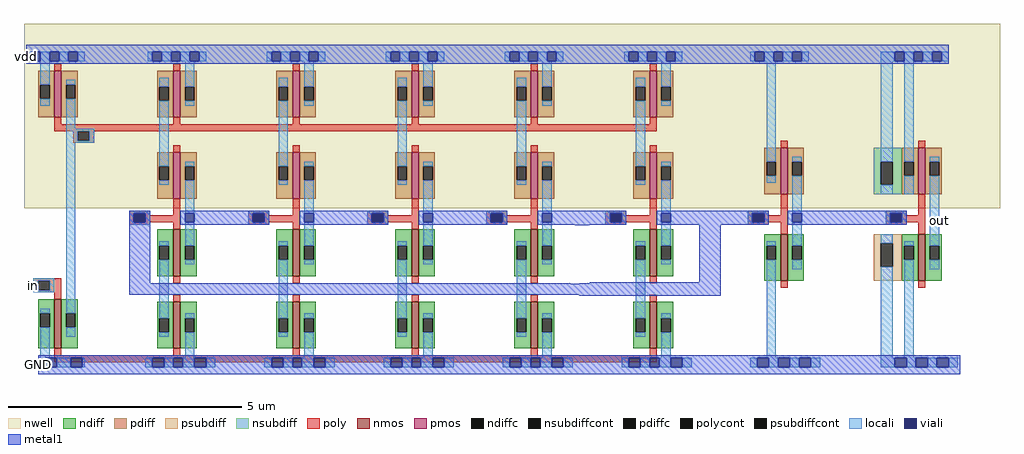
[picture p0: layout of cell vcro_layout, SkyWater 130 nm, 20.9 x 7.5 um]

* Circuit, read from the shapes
.subckt vcro_layout vdd in GND out
XM1 n1 in GND GND sky130_fd_pr__nfet_01v8 w=1.05 l=0.15
XM2 GND in n2 GND sky130_fd_pr__nfet_01v8 w=1 l=0.15
XM3 n3 n4 n2 GND sky130_fd_pr__nfet_01v8 w=1 l=0.15
XM4 GND in n5 GND sky130_fd_pr__nfet_01v8 w=1 l=0.15
XM5 n6 n3 n5 GND sky130_fd_pr__nfet_01v8 w=1 l=0.15
XM6 GND in n7 GND sky130_fd_pr__nfet_01v8 w=1 l=0.15
XM7 n8 n6 n7 GND sky130_fd_pr__nfet_01v8 w=1 l=0.15
XM8 GND in n9 GND sky130_fd_pr__nfet_01v8 w=1 l=0.15
XM9 n10 n8 n9 GND sky130_fd_pr__nfet_01v8 w=1 l=0.15
XM10 GND in n11 GND sky130_fd_pr__nfet_01v8 w=1 l=0.15
XM11 n4 n10 n11 GND sky130_fd_pr__nfet_01v8 w=1 l=0.15
XM12 n12 n4 GND GND sky130_fd_pr__nfet_01v8 w=1 l=0.15
XM13 out n12 GND GND sky130_fd_pr__nfet_01v8 w=1 l=0.15
XM14 n1 n1 vdd vdd sky130_fd_pr__pfet_01v8 w=1 l=0.15
XM15 n3 n4 n13 vdd sky130_fd_pr__pfet_01v8 w=1 l=0.15
XM16 vdd n1 n13 vdd sky130_fd_pr__pfet_01v8 w=1 l=0.15
XM17 n6 n3 n14 vdd sky130_fd_pr__pfet_01v8 w=1 l=0.15
XM18 vdd n1 n14 vdd sky130_fd_pr__pfet_01v8 w=1 l=0.15
XM19 n8 n6 n15 vdd sky130_fd_pr__pfet_01v8 w=1 l=0.15
XM20 vdd n1 n15 vdd sky130_fd_pr__pfet_01v8 w=1 l=0.15
XM21 n10 n8 n16 vdd sky130_fd_pr__pfet_01v8 w=1 l=0.15
XM22 vdd n1 n16 vdd sky130_fd_pr__pfet_01v8 w=1 l=0.15
XM23 n4 n10 n17 vdd sky130_fd_pr__pfet_01v8 w=1 l=0.15
XM24 vdd n1 n17 vdd sky130_fd_pr__pfet_01v8 w=1 l=0.15
XM25 n12 n4 vdd vdd sky130_fd_pr__pfet_01v8 w=1 l=0.15
XM26 out n12 vdd vdd sky130_fd_pr__pfet_01v8 w=1 l=0.15
.ends

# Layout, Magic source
magic
tech sky130A
<< nwell >>
rect -1715 -70 375 325
<< nmos >>
rect -1395 -215 -1380 -115
rect -1140 -215 -1125 -115
rect -885 -215 -870 -115
rect -630 -215 -615 -115
rect -375 -215 -360 -115
rect -95 -225 -80 -125
rect 200 -225 215 -125
rect -1650 -370 -1635 -265
rect -1395 -370 -1380 -270
rect -1140 -370 -1125 -270
rect -885 -370 -870 -270
rect -630 -370 -615 -270
rect -375 -370 -360 -270
<< pmos >>
rect -1650 125 -1635 225
rect -1395 125 -1380 225
rect -1140 125 -1125 225
rect -885 125 -870 225
rect -630 125 -615 225
rect -375 125 -360 225
rect -1395 -50 -1380 50
rect -1140 -50 -1125 50
rect -885 -50 -870 50
rect -630 -50 -615 50
rect -375 -50 -360 50
rect -95 -40 -80 60
rect 200 -40 215 60
<< ndiff >>
rect -1430 -150 -1395 -115
rect -1430 -180 -1425 -150
rect -1405 -180 -1395 -150
rect -1430 -215 -1395 -180
rect -1380 -150 -1345 -115
rect -1380 -180 -1370 -150
rect -1350 -180 -1345 -150
rect -1380 -215 -1345 -180
rect -1175 -150 -1140 -115
rect -1175 -180 -1170 -150
rect -1150 -180 -1140 -150
rect -1175 -215 -1140 -180
rect -1125 -150 -1090 -115
rect -1125 -180 -1115 -150
rect -1095 -180 -1090 -150
rect -1125 -215 -1090 -180
rect -920 -150 -885 -115
rect -920 -180 -915 -150
rect -895 -180 -885 -150
rect -920 -215 -885 -180
rect -870 -150 -835 -115
rect -870 -180 -860 -150
rect -840 -180 -835 -150
rect -870 -215 -835 -180
rect -665 -150 -630 -115
rect -665 -180 -660 -150
rect -640 -180 -630 -150
rect -665 -215 -630 -180
rect -615 -150 -580 -115
rect -615 -180 -605 -150
rect -585 -180 -580 -150
rect -615 -215 -580 -180
rect -410 -150 -375 -115
rect -410 -180 -405 -150
rect -385 -180 -375 -150
rect -410 -215 -375 -180
rect -360 -150 -325 -115
rect -360 -180 -350 -150
rect -330 -180 -325 -150
rect -360 -215 -325 -180
rect -130 -150 -95 -125
rect -130 -180 -125 -150
rect -105 -180 -95 -150
rect -130 -225 -95 -180
rect -80 -150 -45 -125
rect -80 -180 -70 -150
rect -50 -180 -45 -150
rect -80 -225 -45 -180
rect 165 -150 200 -125
rect 165 -180 170 -150
rect 190 -180 200 -150
rect 165 -225 200 -180
rect 215 -150 250 -125
rect 215 -180 225 -150
rect 245 -180 250 -150
rect 215 -225 250 -180
rect -1685 -295 -1650 -265
rect -1685 -325 -1680 -295
rect -1660 -325 -1650 -295
rect -1685 -370 -1650 -325
rect -1635 -295 -1600 -265
rect -1635 -325 -1625 -295
rect -1605 -325 -1600 -295
rect -1635 -370 -1600 -325
rect -1430 -305 -1395 -270
rect -1430 -335 -1425 -305
rect -1405 -335 -1395 -305
rect -1430 -370 -1395 -335
rect -1380 -305 -1345 -270
rect -1380 -335 -1370 -305
rect -1350 -335 -1345 -305
rect -1380 -370 -1345 -335
rect -1175 -305 -1140 -270
rect -1175 -335 -1170 -305
rect -1150 -335 -1140 -305
rect -1175 -370 -1140 -335
rect -1125 -305 -1090 -270
rect -1125 -335 -1115 -305
rect -1095 -335 -1090 -305
rect -1125 -370 -1090 -335
rect -920 -305 -885 -270
rect -920 -335 -915 -305
rect -895 -335 -885 -305
rect -920 -370 -885 -335
rect -870 -305 -835 -270
rect -870 -335 -860 -305
rect -840 -335 -835 -305
rect -870 -370 -835 -335
rect -665 -305 -630 -270
rect -665 -335 -660 -305
rect -640 -335 -630 -305
rect -665 -370 -630 -335
rect -615 -305 -580 -270
rect -615 -335 -605 -305
rect -585 -335 -580 -305
rect -615 -370 -580 -335
rect -410 -305 -375 -270
rect -410 -335 -405 -305
rect -385 -335 -375 -305
rect -410 -370 -375 -335
rect -360 -305 -325 -270
rect -360 -335 -350 -305
rect -330 -335 -325 -305
rect -360 -370 -325 -335
<< pdiff >>
rect -1685 195 -1650 225
rect -1685 165 -1680 195
rect -1660 165 -1650 195
rect -1685 125 -1650 165
rect -1635 195 -1600 225
rect -1635 165 -1625 195
rect -1605 165 -1600 195
rect -1635 125 -1600 165
rect -1430 190 -1395 225
rect -1430 160 -1425 190
rect -1405 160 -1395 190
rect -1430 125 -1395 160
rect -1380 190 -1345 225
rect -1380 160 -1370 190
rect -1350 160 -1345 190
rect -1380 125 -1345 160
rect -1175 190 -1140 225
rect -1175 160 -1170 190
rect -1150 160 -1140 190
rect -1175 125 -1140 160
rect -1125 190 -1090 225
rect -1125 160 -1115 190
rect -1095 160 -1090 190
rect -1125 125 -1090 160
rect -920 190 -885 225
rect -920 160 -915 190
rect -895 160 -885 190
rect -920 125 -885 160
rect -870 190 -835 225
rect -870 160 -860 190
rect -840 160 -835 190
rect -870 125 -835 160
rect -665 190 -630 225
rect -665 160 -660 190
rect -640 160 -630 190
rect -665 125 -630 160
rect -615 190 -580 225
rect -615 160 -605 190
rect -585 160 -580 190
rect -615 125 -580 160
rect -410 190 -375 225
rect -410 160 -405 190
rect -385 160 -375 190
rect -410 125 -375 160
rect -360 190 -325 225
rect -360 160 -350 190
rect -330 160 -325 190
rect -360 125 -325 160
rect -1430 20 -1395 50
rect -1430 -10 -1425 20
rect -1405 -10 -1395 20
rect -1430 -50 -1395 -10
rect -1380 20 -1345 50
rect -1380 -10 -1370 20
rect -1350 -10 -1345 20
rect -1380 -50 -1345 -10
rect -1175 20 -1140 50
rect -1175 -10 -1170 20
rect -1150 -10 -1140 20
rect -1175 -50 -1140 -10
rect -1125 20 -1090 50
rect -1125 -10 -1115 20
rect -1095 -10 -1090 20
rect -1125 -50 -1090 -10
rect -920 20 -885 50
rect -920 -10 -915 20
rect -895 -10 -885 20
rect -920 -50 -885 -10
rect -870 20 -835 50
rect -870 -10 -860 20
rect -840 -10 -835 20
rect -870 -50 -835 -10
rect -665 20 -630 50
rect -665 -10 -660 20
rect -640 -10 -630 20
rect -665 -50 -630 -10
rect -615 20 -580 50
rect -615 -10 -605 20
rect -585 -10 -580 20
rect -615 -50 -580 -10
rect -410 20 -375 50
rect -410 -10 -405 20
rect -385 -10 -375 20
rect -410 -50 -375 -10
rect -360 20 -325 50
rect -360 -10 -350 20
rect -330 -10 -325 20
rect -360 -50 -325 -10
rect -130 30 -95 60
rect -130 0 -125 30
rect -105 0 -95 30
rect -130 -40 -95 0
rect -80 30 -45 60
rect -80 0 -70 30
rect -50 0 -45 30
rect -80 -40 -45 0
rect 165 30 200 60
rect 165 0 170 30
rect 190 0 200 30
rect 165 -40 200 0
rect 215 30 250 60
rect 215 0 225 30
rect 245 0 250 30
rect 215 -40 250 0
<< ndiffc >>
rect -1425 -180 -1405 -150
rect -1370 -180 -1350 -150
rect -1170 -180 -1150 -150
rect -1115 -180 -1095 -150
rect -915 -180 -895 -150
rect -860 -180 -840 -150
rect -660 -180 -640 -150
rect -605 -180 -585 -150
rect -405 -180 -385 -150
rect -350 -180 -330 -150
rect -125 -180 -105 -150
rect -70 -180 -50 -150
rect 170 -180 190 -150
rect 225 -180 245 -150
rect -1680 -325 -1660 -295
rect -1625 -325 -1605 -295
rect -1425 -335 -1405 -305
rect -1370 -335 -1350 -305
rect -1170 -335 -1150 -305
rect -1115 -335 -1095 -305
rect -915 -335 -895 -305
rect -860 -335 -840 -305
rect -660 -335 -640 -305
rect -605 -335 -585 -305
rect -405 -335 -385 -305
rect -350 -335 -330 -305
<< pdiffc >>
rect -1680 165 -1660 195
rect -1625 165 -1605 195
rect -1425 160 -1405 190
rect -1370 160 -1350 190
rect -1170 160 -1150 190
rect -1115 160 -1095 190
rect -915 160 -895 190
rect -860 160 -840 190
rect -660 160 -640 190
rect -605 160 -585 190
rect -405 160 -385 190
rect -350 160 -330 190
rect -1425 -10 -1405 20
rect -1370 -10 -1350 20
rect -1170 -10 -1150 20
rect -1115 -10 -1095 20
rect -915 -10 -895 20
rect -860 -10 -840 20
rect -660 -10 -640 20
rect -605 -10 -585 20
rect -405 -10 -385 20
rect -350 -10 -330 20
rect -125 0 -105 30
rect -70 0 -50 30
rect 170 0 190 30
rect 225 0 245 30
<< psubdiff >>
rect 105 -145 165 -125
rect 105 -195 120 -145
rect 145 -195 165 -145
rect 105 -225 165 -195
<< nsubdiff >>
rect 105 30 165 60
rect 105 -20 120 30
rect 145 -20 165 30
rect 105 -40 165 -20
<< psubdiffcont >>
rect 120 -195 145 -145
<< nsubdiffcont >>
rect 120 -20 145 30
<< poly >>
rect -1650 225 -1635 240
rect -1395 225 -1380 240
rect -1140 225 -1125 240
rect -885 225 -870 240
rect -630 225 -615 240
rect -375 225 -360 240
rect -1650 110 -1635 125
rect -1395 110 -1380 125
rect -1140 110 -1125 125
rect -885 110 -870 125
rect -630 110 -615 125
rect -375 110 -360 125
rect -1650 95 -360 110
rect -1610 75 -1600 95
rect -1575 75 -1565 95
rect -1610 70 -1565 75
rect -1395 50 -1380 65
rect -1140 50 -1125 65
rect -885 50 -870 65
rect -630 50 -615 65
rect -375 50 -360 65
rect -95 60 -80 75
rect 200 60 215 75
rect -1490 -80 -1445 -75
rect -1490 -100 -1480 -80
rect -1455 -85 -1445 -80
rect -1395 -85 -1380 -50
rect -1455 -100 -1380 -85
rect -1490 -105 -1445 -100
rect -1395 -115 -1380 -100
rect -1235 -80 -1190 -75
rect -1235 -100 -1225 -80
rect -1200 -85 -1190 -80
rect -1140 -85 -1125 -50
rect -1200 -100 -1125 -85
rect -1235 -105 -1190 -100
rect -1140 -115 -1125 -100
rect -980 -80 -935 -75
rect -980 -100 -970 -80
rect -945 -85 -935 -80
rect -885 -85 -870 -50
rect -945 -100 -870 -85
rect -980 -105 -935 -100
rect -885 -115 -870 -100
rect -725 -80 -680 -75
rect -725 -100 -715 -80
rect -690 -85 -680 -80
rect -630 -85 -615 -50
rect -690 -100 -615 -85
rect -725 -105 -680 -100
rect -630 -115 -615 -100
rect -470 -80 -425 -75
rect -470 -100 -460 -80
rect -435 -85 -425 -80
rect -375 -85 -360 -50
rect -435 -100 -360 -85
rect -470 -105 -425 -100
rect -375 -115 -360 -100
rect -165 -80 -120 -75
rect -165 -100 -155 -80
rect -130 -85 -120 -80
rect -95 -85 -80 -40
rect -130 -100 -80 -85
rect -165 -105 -120 -100
rect -95 -125 -80 -100
rect 130 -80 175 -75
rect 130 -100 140 -80
rect 165 -85 175 -80
rect 200 -85 215 -40
rect 165 -100 215 -85
rect 130 -105 175 -100
rect 200 -125 215 -100
rect -1695 -225 -1635 -220
rect -1695 -245 -1685 -225
rect -1660 -245 -1635 -225
rect -1395 -230 -1380 -215
rect -1140 -230 -1125 -215
rect -885 -230 -870 -215
rect -630 -230 -615 -215
rect -375 -230 -360 -215
rect -95 -240 -80 -225
rect 200 -240 215 -225
rect -1695 -250 -1635 -245
rect -1650 -265 -1635 -250
rect -1395 -270 -1380 -255
rect -1140 -270 -1125 -255
rect -885 -270 -870 -255
rect -630 -270 -615 -255
rect -375 -270 -360 -255
rect -1650 -385 -1635 -370
rect -1395 -385 -1380 -370
rect -1140 -385 -1125 -370
rect -885 -385 -870 -370
rect -630 -385 -615 -370
rect -375 -385 -360 -370
rect -1650 -400 -360 -385
<< polycont >>
rect -1600 75 -1575 95
rect -1480 -100 -1455 -80
rect -1225 -100 -1200 -80
rect -970 -100 -945 -80
rect -715 -100 -690 -80
rect -460 -100 -435 -80
rect -155 -100 -130 -80
rect 140 -100 165 -80
rect -1685 -245 -1660 -225
<< locali >>
rect -1710 245 -1700 265
rect -1680 195 -1660 265
rect -1640 245 -1620 265
rect -1600 245 -1585 265
rect -1450 245 -1440 265
rect -1420 245 -1400 265
rect -1380 245 -1360 265
rect -1340 245 -1325 265
rect -1195 245 -1185 265
rect -1165 245 -1145 265
rect -1125 245 -1105 265
rect -1085 245 -1070 265
rect -940 245 -930 265
rect -910 245 -890 265
rect -870 245 -850 265
rect -830 245 -815 265
rect -685 245 -675 265
rect -655 245 -635 265
rect -615 245 -595 265
rect -575 245 -560 265
rect -430 245 -420 265
rect -400 245 -380 265
rect -360 245 -340 265
rect -320 245 -305 265
rect -160 245 -150 265
rect -130 245 -110 265
rect -90 245 -70 265
rect -50 245 -35 265
rect 120 245 150 265
rect -1680 150 -1660 165
rect -1625 195 -1605 205
rect -1625 100 -1605 165
rect -1425 190 -1405 210
rect -1625 95 -1565 100
rect -1625 75 -1600 95
rect -1575 75 -1565 95
rect -1625 70 -1565 75
rect -1695 -225 -1650 -220
rect -1695 -245 -1685 -225
rect -1660 -245 -1650 -225
rect -1695 -250 -1650 -245
rect -1680 -295 -1660 -285
rect -1680 -390 -1660 -325
rect -1625 -295 -1605 70
rect -1425 20 -1405 160
rect -1370 190 -1350 245
rect -1370 150 -1350 160
rect -1170 190 -1150 210
rect -1425 -20 -1405 -10
rect -1370 20 -1350 30
rect -1490 -80 -1445 -75
rect -1490 -100 -1480 -80
rect -1455 -100 -1445 -80
rect -1490 -105 -1445 -100
rect -1370 -80 -1350 -10
rect -1170 20 -1150 160
rect -1115 190 -1095 245
rect -1115 150 -1095 160
rect -915 190 -895 210
rect -1170 -20 -1150 -10
rect -1115 20 -1095 30
rect -1625 -345 -1605 -325
rect -1425 -150 -1405 -140
rect -1425 -305 -1405 -180
rect -1370 -150 -1350 -100
rect -1235 -80 -1190 -75
rect -1235 -100 -1225 -80
rect -1200 -100 -1190 -80
rect -1235 -105 -1190 -100
rect -1115 -80 -1095 -10
rect -915 20 -895 160
rect -860 190 -840 245
rect -860 150 -840 160
rect -660 190 -640 210
rect -915 -20 -895 -10
rect -860 20 -840 30
rect -1370 -190 -1350 -180
rect -1170 -150 -1150 -140
rect -1425 -345 -1405 -335
rect -1370 -305 -1350 -295
rect -1370 -390 -1350 -335
rect -1170 -305 -1150 -180
rect -1115 -150 -1095 -100
rect -980 -80 -935 -75
rect -980 -100 -970 -80
rect -945 -100 -935 -80
rect -980 -105 -935 -100
rect -860 -80 -840 -10
rect -660 20 -640 160
rect -605 190 -585 245
rect -605 150 -585 160
rect -405 190 -385 210
rect -660 -20 -640 -10
rect -605 20 -585 30
rect -1115 -190 -1095 -180
rect -915 -150 -895 -140
rect -1170 -345 -1150 -335
rect -1115 -305 -1095 -295
rect -1115 -390 -1095 -335
rect -915 -305 -895 -180
rect -860 -150 -840 -100
rect -725 -80 -680 -75
rect -725 -100 -715 -80
rect -690 -100 -680 -80
rect -725 -105 -680 -100
rect -605 -80 -585 -10
rect -405 20 -385 160
rect -350 190 -330 245
rect -350 150 -330 160
rect -125 30 -105 245
rect -405 -20 -385 -10
rect -350 20 -330 30
rect -860 -190 -840 -180
rect -660 -150 -640 -140
rect -915 -345 -895 -335
rect -860 -305 -840 -295
rect -860 -390 -840 -335
rect -660 -305 -640 -180
rect -605 -150 -585 -100
rect -470 -80 -425 -75
rect -470 -100 -460 -80
rect -435 -100 -425 -80
rect -470 -105 -425 -100
rect -350 -80 -330 -10
rect -125 -15 -105 0
rect -70 30 -50 40
rect -605 -190 -585 -180
rect -405 -150 -385 -140
rect -660 -345 -640 -335
rect -605 -305 -585 -295
rect -605 -390 -585 -335
rect -405 -305 -385 -180
rect -350 -150 -330 -100
rect -165 -80 -120 -75
rect -165 -100 -155 -80
rect -130 -100 -120 -80
rect -165 -105 -120 -100
rect -70 -80 -50 0
rect 120 30 145 245
rect 120 -40 145 -20
rect 170 30 190 265
rect 210 245 230 265
rect 250 245 265 265
rect 170 -40 190 0
rect 225 30 245 40
rect -350 -190 -330 -180
rect -125 -150 -105 -140
rect -405 -345 -385 -335
rect -350 -305 -330 -295
rect -350 -390 -330 -335
rect -125 -390 -105 -180
rect -70 -150 -50 -100
rect 130 -80 175 -75
rect 130 -100 140 -80
rect 165 -100 175 -80
rect 130 -105 175 -100
rect -70 -200 -50 -180
rect 120 -145 145 -125
rect 120 -390 145 -195
rect 170 -150 190 -140
rect 170 -390 190 -180
rect 225 -150 245 0
rect 225 -200 245 -180
rect -1685 -410 -1670 -390
rect -1645 -410 -1615 -390
rect -1590 -410 -1585 -390
rect -1455 -410 -1440 -390
rect -1415 -410 -1395 -390
rect -1375 -410 -1350 -390
rect -1325 -410 -1305 -390
rect -1200 -410 -1185 -390
rect -1160 -410 -1140 -390
rect -1120 -410 -1095 -390
rect -1070 -410 -1050 -390
rect -945 -410 -930 -390
rect -905 -410 -885 -390
rect -865 -410 -840 -390
rect -815 -410 -795 -390
rect -690 -410 -675 -390
rect -650 -410 -630 -390
rect -610 -410 -585 -390
rect -560 -410 -540 -390
rect -435 -410 -420 -390
rect -395 -410 -375 -390
rect -355 -410 -330 -390
rect -305 -410 -285 -390
rect -160 -410 -145 -390
rect -120 -410 -100 -390
rect -75 -410 -55 -390
rect -30 -410 -10 -390
rect 120 -410 150 -390
rect 175 -410 195 -390
rect 220 -410 240 -390
rect 265 -410 285 -390
<< viali >>
rect -1700 245 -1680 265
rect -1660 245 -1640 265
rect -1620 245 -1600 265
rect -1440 245 -1420 265
rect -1400 245 -1380 265
rect -1360 245 -1340 265
rect -1185 245 -1165 265
rect -1145 245 -1125 265
rect -1105 245 -1085 265
rect -930 245 -910 265
rect -890 245 -870 265
rect -850 245 -830 265
rect -675 245 -655 265
rect -635 245 -615 265
rect -595 245 -575 265
rect -420 245 -400 265
rect -380 245 -360 265
rect -340 245 -320 265
rect -150 245 -130 265
rect -110 245 -90 265
rect -70 245 -50 265
rect 150 245 170 265
rect -1480 -100 -1455 -80
rect -1370 -100 -1350 -80
rect -1225 -100 -1200 -80
rect -1115 -100 -1095 -80
rect -970 -100 -945 -80
rect -860 -100 -840 -80
rect -715 -100 -690 -80
rect -605 -100 -585 -80
rect -460 -100 -435 -80
rect -350 -100 -330 -80
rect -155 -100 -130 -80
rect 190 245 210 265
rect 230 245 250 265
rect -70 -100 -50 -80
rect 140 -100 165 -80
rect -1670 -410 -1645 -390
rect -1615 -410 -1590 -390
rect -1440 -410 -1415 -390
rect -1395 -410 -1375 -390
rect -1350 -410 -1325 -390
rect -1185 -410 -1160 -390
rect -1140 -410 -1120 -390
rect -1095 -410 -1070 -390
rect -930 -410 -905 -390
rect -885 -410 -865 -390
rect -840 -410 -815 -390
rect -675 -410 -650 -390
rect -630 -410 -610 -390
rect -585 -410 -560 -390
rect -420 -410 -395 -390
rect -375 -410 -355 -390
rect -330 -410 -305 -390
rect -145 -410 -120 -390
rect -100 -410 -75 -390
rect -55 -410 -30 -390
rect 150 -410 175 -390
rect 195 -410 220 -390
rect 240 -410 265 -390
<< metal1 >>
rect -1710 265 265 280
rect -1710 245 -1700 265
rect -1680 245 -1660 265
rect -1640 245 -1620 265
rect -1600 245 -1440 265
rect -1420 245 -1400 265
rect -1380 245 -1360 265
rect -1340 245 -1185 265
rect -1165 245 -1145 265
rect -1125 245 -1105 265
rect -1085 245 -930 265
rect -910 245 -890 265
rect -870 245 -850 265
rect -830 245 -675 265
rect -655 245 -635 265
rect -615 245 -595 265
rect -575 245 -420 265
rect -400 245 -380 265
rect -360 245 -340 265
rect -320 245 -150 265
rect -130 245 -110 265
rect -90 245 -70 265
rect -50 245 150 265
rect 170 245 190 265
rect 210 245 230 265
rect 250 245 265 265
rect -1710 240 265 245
rect -1490 -80 -1445 -75
rect -1490 -100 -1480 -80
rect -1455 -100 -1445 -80
rect -1490 -230 -1445 -100
rect -1380 -80 -1190 -75
rect -1380 -100 -1370 -80
rect -1350 -100 -1225 -80
rect -1200 -100 -1190 -80
rect -1380 -105 -1190 -100
rect -1125 -80 -935 -75
rect -1125 -100 -1115 -80
rect -1095 -100 -970 -80
rect -945 -100 -935 -80
rect -1125 -105 -935 -100
rect -870 -80 -680 -75
rect -870 -100 -860 -80
rect -840 -100 -715 -80
rect -690 -100 -680 -80
rect -870 -105 -680 -100
rect -615 -80 -425 -75
rect -615 -100 -605 -80
rect -585 -100 -460 -80
rect -435 -100 -425 -80
rect -615 -105 -425 -100
rect -360 -80 -120 -75
rect -360 -100 -350 -80
rect -330 -100 -155 -80
rect -130 -100 -120 -80
rect -360 -105 -120 -100
rect -80 -80 175 -75
rect -80 -100 -70 -80
rect -50 -100 140 -80
rect 165 -100 175 -80
rect -80 -105 175 -100
rect -535 -106 -505 -105
rect -269 -228 -223 -105
rect -504 -230 -223 -228
rect -1490 -231 -545 -230
rect -526 -231 -223 -230
rect -1490 -255 -223 -231
rect -526 -257 -223 -255
rect -1685 -390 290 -385
rect -1685 -410 -1670 -390
rect -1645 -410 -1615 -390
rect -1590 -410 -1440 -390
rect -1415 -410 -1395 -390
rect -1375 -410 -1350 -390
rect -1325 -410 -1185 -390
rect -1160 -410 -1140 -390
rect -1120 -410 -1095 -390
rect -1070 -410 -930 -390
rect -905 -410 -885 -390
rect -865 -410 -840 -390
rect -815 -410 -675 -390
rect -650 -410 -630 -390
rect -610 -410 -585 -390
rect -560 -410 -420 -390
rect -395 -410 -375 -390
rect -355 -410 -330 -390
rect -305 -410 -145 -390
rect -120 -410 -100 -390
rect -75 -410 -55 -390
rect -30 -410 150 -390
rect 175 -410 195 -390
rect 220 -410 240 -390
rect 265 -410 290 -390
rect -1685 -425 290 -410
<< labels >>
rlabel locali -1695 -235 -1695 -235 7 in
port 2 w
rlabel locali 245 -95 245 -95 3 out
port 4 e
rlabel metal1 -1710 255 -1710 255 7 vdd
port 1 w
rlabel metal1 -1685 -405 -1685 -405 7 GND
port 3 w
<< end >>
